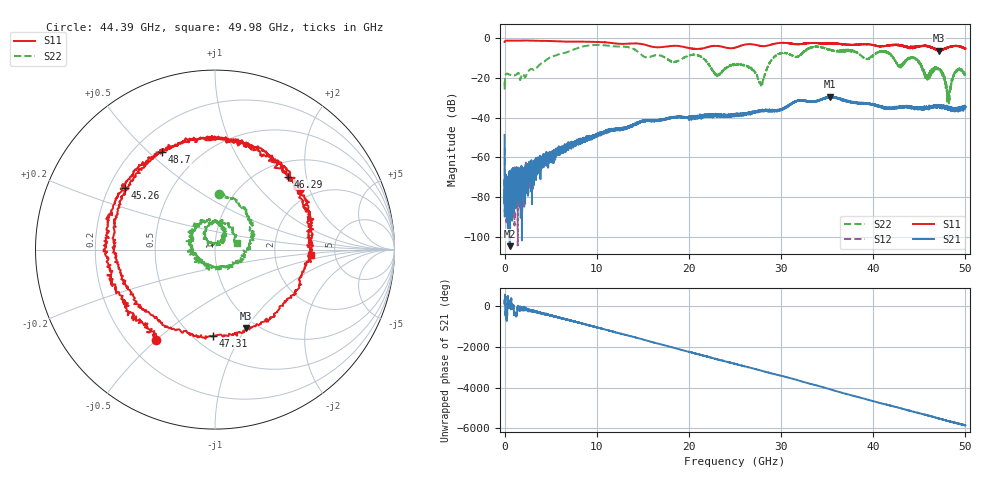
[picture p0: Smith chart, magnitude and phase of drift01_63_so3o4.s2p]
!Created with skrf (http://scikit-rf.org).
# Hz S RI R 50.0
!freq ReS11 ImS11 ReS21 ImS21 ReS12 ImS12 ReS22 ImS22
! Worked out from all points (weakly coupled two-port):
!   10001 points, 300 kHz to 50 GHz, reference 50 ohm
!   highest |S21| = -29.58 dB at 35.29 GHz (marker M1); lowest = -104.5 dB at 555.3 MHz (marker M2)
!   lowest |S11| = -6.6 dB at 47.15 GHz (marker M3), VSWR 2.77, Z = 44.6 - j50 ohm
!   |S11| at or under -10 dB: nowhere
!   |S22| runs from -33.7 to -3.6 dB; largest |S21 - S12| = 0.0037
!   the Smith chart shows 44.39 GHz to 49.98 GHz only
!   S11 on the Smith chart (normalised r, x): 44.39 GHz: 0.32, -0.50; 45.26 GHz: 0.27, +0.29; 46.29 GHz: 1.29, +1.58; 47.31 GHz: 0.62, -0.76; 48.7 GHz: 0.31, +0.55; 49.98 GHz: 3.26, -0.28
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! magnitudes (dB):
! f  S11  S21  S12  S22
! 300 kHz  -2.1  -48.7  -55.2  -22.0
! 255.3 MHz  -1.4  -78.1  -73.2  -18.0
! 555.3 MHz  -1.5  -104.5  -76.4  -18.5
! 8.335 GHz  -1.9  -53.0  -51.8  -4.5
! 16.67 GHz  -4.8  -41.4  -41.6  -8.7
! 20.99 GHz  -5.6  -39.3  -39.8  -8.8
! 23.08 GHz  -4.1  -39.3  -39.4  -18.8
! 25 GHz  -5.0  -38.6  -38.7  -13.6
! 27.85 GHz  -4.2  -36.6  -36.6  -23.2
! 29.48 GHz  -2.8  -36.6  -36.6  -8.7
! 33.34 GHz  -2.6  -32.0  -31.8  -4.8
! 35.29 GHz  -3.0  -29.6  -29.8  -6.0
! 41.67 GHz  -3.8  -35.5  -35.0  -7.8
! 44.39 GHz  -4.4  -35.0  -35.0  -10.1
! 45.26 GHz  -4.3  -34.9  -35.4  -14.1
! 46.29 GHz  -4.8  -34.7  -34.9  -17.6
! 47.15 GHz  -6.6  -34.2  -34.5  -15.9
! 47.31 GHz  -6.4  -34.3  -34.2  -16.7
! 48.13 GHz  -4.8  -35.0  -35.1  -28.6
! 48.7 GHz  -4.2  -35.5  -36.1  -19.2
! 49.98 GHz  -5.5  -35.2  -34.6  -17.9
! 50 GHz  -5.4  -34.6  -34.9  -18.4
